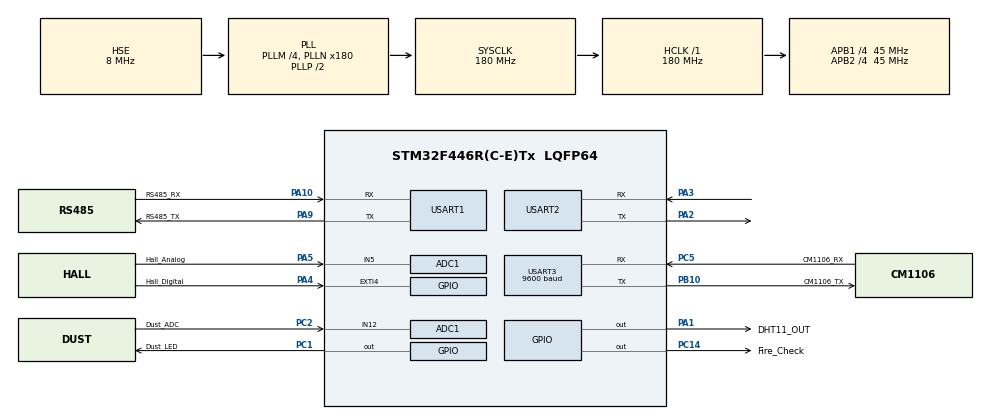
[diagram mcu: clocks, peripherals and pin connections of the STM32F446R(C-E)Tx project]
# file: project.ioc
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ADC1.Channel-0\#ChannelRegularConversion=ADC_CHANNEL_5
ADC1.Channel-2\#ChannelInjectedConversion=ADC_CHANNEL_12
ADC1.ContinuousConvMode=ENABLE
ADC1.DMAContinuousRequests=ENABLE
ADC1.DiscontinuousConvMode=DISABLE
ADC1.InjNumberOfConversion=1
ADC1.InjectedOffset-2\#ChannelInjectedConversion=0
ADC1.InjectedRank-2\#ChannelInjectedConversion=1
ADC1.NbrOfConversion=1
ADC1.NbrOfConversionFlag=1
ADC1.Rank-0\#ChannelRegularConversion=1
ADC1.SamplingTime-0\#ChannelRegularConversion=ADC_SAMPLETIME_480CYCLES
ADC1.SamplingTime-2\#ChannelInjectedConversion=ADC_SAMPLETIME_480CYCLES
ADC1.master=1
Dma.ADC1.2.Direction=DMA_PERIPH_TO_MEMORY
Dma.ADC1.2.FIFOMode=DMA_FIFOMODE_DISABLE
Dma.ADC1.2.Instance=DMA2_Stream0
Dma.ADC1.2.MemDataAlignment=DMA_MDATAALIGN_HALFWORD
Dma.ADC1.2.MemInc=DMA_MINC_ENABLE
Dma.ADC1.2.Mode=DMA_CIRCULAR
Dma.ADC1.2.PeriphDataAlignment=DMA_PDATAALIGN_HALFWORD
Dma.ADC1.2.PeriphInc=DMA_PINC_DISABLE
Dma.ADC1.2.Priority=DMA_PRIORITY_LOW
Dma.Request0=USART2_RX
Dma.Request1=USART3_RX
Dma.Request2=ADC1
Dma.Request3=USART1_RX
Dma.USART1_RX.3.Direction=DMA_PERIPH_TO_MEMORY
Dma.USART1_RX.3.FIFOMode=DMA_FIFOMODE_DISABLE
Dma.USART1_RX.3.Instance=DMA2_Stream2
Dma.USART1_RX.3.MemDataAlignment=DMA_MDATAALIGN_BYTE
Dma.USART1_RX.3.MemInc=DMA_MINC_ENABLE
Dma.USART1_RX.3.Mode=DMA_CIRCULAR
Dma.USART1_RX.3.PeriphDataAlignment=DMA_PDATAALIGN_BYTE
Dma.USART1_RX.3.PeriphInc=DMA_PINC_DISABLE
Dma.USART1_RX.3.Priority=DMA_PRIORITY_VERY_HIGH
Dma.USART2_RX.0.Direction=DMA_PERIPH_TO_MEMORY
Dma.USART2_RX.0.FIFOMode=DMA_FIFOMODE_DISABLE
Dma.USART2_RX.0.Instance=DMA1_Stream5
Dma.USART2_RX.0.MemDataAlignment=DMA_MDATAALIGN_BYTE
Dma.USART2_RX.0.MemInc=DMA_MINC_ENABLE
Dma.USART2_RX.0.Mode=DMA_CIRCULAR
Dma.USART2_RX.0.PeriphDataAlignment=DMA_PDATAALIGN_BYTE
Dma.USART2_RX.0.PeriphInc=DMA_PINC_DISABLE
Dma.USART2_RX.0.Priority=DMA_PRIORITY_VERY_HIGH
Dma.USART3_RX.1.Direction=DMA_PERIPH_TO_MEMORY
Dma.USART3_RX.1.FIFOMode=DMA_FIFOMODE_DISABLE
Dma.USART3_RX.1.Instance=DMA1_Stream1
Dma.USART3_RX.1.MemDataAlignment=DMA_MDATAALIGN_BYTE
Dma.USART3_RX.1.MemInc=DMA_MINC_ENABLE
Dma.USART3_RX.1.Mode=DMA_NORMAL
Dma.USART3_RX.1.PeriphDataAlignment=DMA_PDATAALIGN_BYTE
Dma.USART3_RX.1.PeriphInc=DMA_PINC_DISABLE
Dma.USART3_RX.1.Priority=DMA_PRIORITY_VERY_HIGH
FREERTOS.BinarySemaphores01=rs485Sem,Dynamic,NULL,Available
FREERTOS.Mutexes01=SensorMutex,Dynamic,NULL,Available
FREERTOS.Queues01=modbusQueue,4,uint16_t,0,Dynamic,NULL,NULL
FREERTOS.Tasks01=RS485Task,32,512,StartRS485Task,Default,NULL,Dynamic,NULL,NULL;DHT11Task,24,256,StartDht11Task,Default,NULL,Dynamic,NULL,NULL;FastSensorTask,24,256,StartFastSensorTask,Default,NULL,Dynamic,NULL,NULL;MagnetTask,32,128,StartMagnetTask,Default,NULL,Dynamic,NULL,NULL
Mcu.Family=STM32F4
Mcu.Name=STM32F446R(C-E)Tx
Mcu.Package=LQFP64
NVIC.DMA1_Stream1_IRQn=true\:5\:0\:false\:false\:true\:true\:false\:true\:true
NVIC.DMA1_Stream5_IRQn=true\:5\:0\:false\:true\:true\:1\:true\:false\:true\:true
NVIC.DMA2_Stream0_IRQn=true\:5\:0\:false\:true\:true\:4\:true\:false\:true\:true
NVIC.DMA2_Stream2_IRQn=true\:5\:0\:false\:true\:true\:5\:true\:false\:true\:true
NVIC.EXTI4_IRQn=true\:5\:0\:false\:true\:true\:2\:true\:true\:true\:true
NVIC.PriorityGroup=NVIC_PRIORITYGROUP_4
NVIC.TIM3_IRQn=true\:5\:0\:false\:false\:true\:true\:true\:true\:true
NVIC.TIM8_TRG_COM_TIM14_IRQn=true\:15\:0\:false\:false\:true\:false\:false\:true\:true
NVIC.TimeBase=TIM8_TRG_COM_TIM14_IRQn
NVIC.TimeBaseIP=TIM14
NVIC.USART1_IRQn=true\:5\:0\:false\:true\:true\:3\:true\:true\:true\:true
NVIC.USART3_IRQn=true\:5\:0\:false\:false\:true\:true\:true\:true\:true
PA1.GPIO_Label=DHT11_OUT
PA1.GPIO_Speed=GPIO_SPEED_FREQ_VERY_HIGH
PA1.PinState=GPIO_PIN_SET
PA1.Signal=GPIO_Output
PA10.GPIO_Label=RS485_RX
PA10.Mode=Asynchronous
PA10.Signal=USART1_RX
PA13.Mode=Serial_Wire
PA13.Signal=SYS_JTMS-SWDIO
PA14.Mode=Serial_Wire
PA14.Signal=SYS_JTCK-SWCLK
PA2.Mode=Asynchronous
PA2.Signal=USART2_TX
PA3.Mode=Asynchronous
PA3.Signal=USART2_RX
PA4.GPIO_Label=Hall_Digital
PA4.Signal=GPXTI4
PA5.GPIO_Label=Hall_Analog
PA5.Signal=SharedAnalog_PA5
PA9.GPIO_Label=RS485_TX
PA9.Mode=Asynchronous
PA9.Signal=USART1_TX
PB10.GPIO_Label=CM1106_TX
PB10.Mode=Asynchronous
PB10.Signal=USART3_TX
PC1.GPIO_Label=Dust_LED
PC1.GPIO_Speed=GPIO_SPEED_FREQ_VERY_HIGH
PC1.Signal=GPIO_Output
PC14-OSC32_IN.GPIO_Label=Fire_Check
PC14-OSC32_IN.Signal=GPIO_Output
PC2.GPIO_Label=Dust_ADC
PC2.Signal=ADCx_IN12
PC5.GPIO_Label=CM1106_RX
PC5.Mode=Asynchronous
PC5.Signal=USART3_RX
PH0-OSC_IN.Mode=HSE-External-Oscillator
PH0-OSC_IN.Signal=RCC_OSC_IN
PH1-OSC_OUT.Mode=HSE-External-Oscillator
PH1-OSC_OUT.Signal=RCC_OSC_OUT
ProjectManager.HeapSize=0x200
ProjectManager.StackSize=0x800
ProjectManager.TargetToolchain=STM32CubeIDE
RCC.AHBFreq_Value=180000000
RCC.APB1CLKDivider=RCC_HCLK_DIV4
RCC.APB1Freq_Value=45000000
RCC.APB1TimFreq_Value=90000000
RCC.APB2CLKDivider=RCC_HCLK_DIV4
RCC.APB2Freq_Value=45000000
RCC.APB2TimFreq_Value=90000000
RCC.CortexFreq_Value=180000000
RCC.HCLKFreq_Value=180000000
RCC.HSE_VALUE=8000000
RCC.PLLM=4
RCC.PLLN=180
RCC.PLLSourceVirtual=RCC_PLLSOURCE_HSE
RCC.SYSCLKFreq_VALUE=180000000
RCC.SYSCLKSource=RCC_SYSCLKSOURCE_PLLCLK
RCC.USBFreq_Value=180000000
RCC.VCOOutputFreq_Value=360000000
SH.ADCx_IN12.0=ADC1_IN12,IN12
SH.SharedAnalog_PA5.0=GPIO_Analog
SH.SharedAnalog_PA5.1=ADC1_IN5,IN5
TIM2.Period=1000-1
TIM2.Prescaler=9000-1
TIM2.TIM_MasterOutputTrigger=TIM_TRGO_UPDATE
TIM3.Period=100-1
TIM3.Prescaler=9000-1
TIM3.TIM_MasterOutputTrigger=TIM_TRGO_UPDATE
TIM6.Period=65535
TIM6.Prescaler=90-1
TIM7.Prescaler=90-1
USART1.VirtualMode=VM_ASYNC
USART2.VirtualMode=VM_ASYNC
USART3.BaudRate=9600
USART3.VirtualMode=VM_ASYNC
VP_FREERTOS_VS_CMSIS_V2.Mode=CMSIS_V2
VP_SYS_VS_tim14.Mode=TIM14
VP_TIM2_VS_ClockSourceINT.Mode=Internal
VP_TIM3_VS_ClockSourceINT.Mode=Internal
VP_TIM6_VS_ClockSourceINT.Mode=Enable_Timer
VP_TIM7_VS_ClockSourceINT.Mode=Enable_Timer
board=custom

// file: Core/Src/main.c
/* USER CODE BEGIN Header */
/**
  ******************************************************************************
  * @file           : main.c
  * @brief          : Main program body
  ******************************************************************************
  * @attention
  *
  * Copyright (c) 2026 STMicroelectronics.
  * All rights reserved.
  *
  * This software is licensed under terms that can be found in the LICENSE file
  * in the root directory of this software component.
  * If no LICENSE file comes with this software, it is provided AS-IS.
  *
  ******************************************************************************
  */
/* USER CODE END Header */
#include "main.h"
#include "cmsis_os.h"
#include "adc.h"
#include "dma.h"
#include "tim.h"
#include "usart.h"
#include "gpio.h"

/* USER CODE BEGIN Includes */
#include "queue.h"
#include <stdio.h>
#include "modbus_protocol.h"
//#include <My_MCU_Printf_Lib_V2_8.h>
/* USER CODE END Includes */

/* USER CODE BEGIN PV */

extern osThreadId_t FastSensorTaskHandle;
extern osThreadId_t MagnetTaskHandle;
extern osSemaphoreId_t rs485SemHandle;
extern osMessageQueueId_t modbusQueueHandle;

uint8_t uart_buf[DMA_Rx_Lens];
uint16_t dma_old_pos = 0;

sensorData s_data = {
		.zone = 1
};

/*
uint8_t cm1106_rx_buf[8];
uint8_t cm1106_cmd[4] = {0x11, 0x01, 0x01, 0xED};
uint16_t co2_ppm = 0;

uint16_t dust_adc = 0;
float dust_voltage = 0;
float dust_value = 0;
static const float dust_clean = 0.28;

uint16_t hall_adc;	// Hall sensor

uint16_t tempdht11, humidht11;
*/
/* USER CODE END PV */

void SystemClock_Config(void);
void MX_FREERTOS_Init(void);
static void MX_NVIC_Init(void);

/* USER CODE BEGIN 0 */

/*
void dht11(uint16_t *temperature, uint16_t *humid)
{
    uint16_t tempc, humidc;

    GPIO_InitTypeDef GPIO_InitStruct = {0};
    GPIO_InitStruct.Pin = DHT11_OUT_Pin;
    GPIO_InitStruct.Mode = GPIO_MODE_OUTPUT_PP;
    GPIO_InitStruct.Pull = GPIO_NOPULL;
    GPIO_InitStruct.Speed = GPIO_SPEED_FREQ_VERY_HIGH;
    HAL_GPIO_Init(DHT11_OUT_GPIO_Port, &GPIO_InitStruct);

    HAL_GPIO_WritePin(DHT11_OUT_GPIO_Port, DHT11_OUT_Pin, 0);

    HAL_Delay(20);

    HAL_GPIO_WritePin(DHT11_OUT_GPIO_Port, DHT11_OUT_Pin, 1);

    GPIO_InitStruct.Pin = DHT11_OUT_Pin;
    GPIO_InitStruct.Mode = GPIO_MODE_INPUT;
    GPIO_InitStruct.Pull = GPIO_NOPULL;
    GPIO_InitStruct.Speed = GPIO_SPEED_FREQ_VERY_HIGH;
    HAL_GPIO_Init(DHT11_OUT_GPIO_Port, &GPIO_InitStruct);

    // try to get counter's start
    __HAL_TIM_SET_COUNTER(&htim7, 0);

    // pick the time of start GPIO_PIN_SET / RESET for each ler[0], ler[1]
    uint16_t ler[2];
    // save the time between start and end of signal
    uint16_t duration[42];
    uint8_t bits[40];
    uint16_t temph = 0;
    uint16_t humidh = 0;

    for(int i = 0; i < 42; i++) {
        while(HAL_GPIO_ReadPin(DHT11_OUT_GPIO_Port, DHT11_OUT_Pin) == 0);
        ler[0] = __HAL_TIM_GET_COUNTER(&htim7);
        while(HAL_GPIO_ReadPin(DHT11_OUT_GPIO_Port, DHT11_OUT_Pin) == 1);
        ler[1] = __HAL_TIM_GET_COUNTER(&htim7);
        duration[i] = ler[1] - ler[0];
    }

    for(int i = 0; i < 40; i++) {
        if((duration[i+2] >= 20) && (duration[i+2] <= 32)) {
            bits[i] = 0;
        }
        else if ((duration[i+2] >= 65) && (duration[i+2] <= 75)) {
            bits[i] = 1;
        }
    }

    for(int i = 0; i < 8; i++) {
        temph += bits[i+16] << (7-i);
        humidh += bits[i] << (7-i);
    }

    tempc = temph;
    humidc = humidh;

    *temperature = tempc;
    *humid = humidc;
}
*/

/* USER CODE END 0 */

int main(void)
{

  /* MCU Configuration--------------------------------------------------------*/

  /* Reset of all peripherals, Initializes the Flash interface and the Systick. */
  HAL_Init();

  /* Configure the system clock */
  SystemClock_Config();

  /* Initialize all configured peripherals */
  MX_GPIO_Init();
  MX_DMA_Init();
  MX_USART2_UART_Init();
  MX_TIM3_Init();
  MX_TIM2_Init();
  MX_USART3_UART_Init();
  MX_ADC1_Init();
  MX_TIM6_Init();
  MX_TIM7_Init();
  MX_USART1_UART_Init();

  /* Initialize interrupts */
  MX_NVIC_Init();
  /* USER CODE BEGIN 2 */
  HAL_TIM_Base_Start(&htim6);
  HAL_TIM_Base_Start(&htim7);

  //HAL_UART_Receive_DMA(&huart3, cm1106_rx_buf, sizeof(cm1106_rx_buf));
  //HAL_ADC_Start_DMA(&hadc1, &hall_adc, 1);

  /* USER CODE END 2 */

  /* Init scheduler */
  osKernelInitialize();  /* Call init function for freertos objects (in cmsis_os2.c) */
  MX_FREERTOS_Init();

  /* Start scheduler */
  osKernelStart();

  /* We should never get here as control is now taken by the scheduler */

  /* Infinite loop */
  /* USER CODE BEGIN WHILE */
  while (1)
  {
	  /*	// CO2 sensor
	  HAL_UART_Transmit(&huart3, cm1106_cmd, sizeof(cm1106_cmd), 100);
	  HAL_Delay(200);

	  co2_ppm = cm1106_rx_buf[3] * 256 + cm1106_rx_buf[4];
	  printf("CO2 ppm = %d\r\n", co2_ppm);

	  HAL_Delay(800);
	  */

	  /*	// 미세먼지 sensor
	  HAL_GPIO_WritePin(Dust_LED_GPIO_Port, Dust_LED_Pin, 0);

	  __HAL_TIM_SET_COUNTER(&htim6, 0);
	  while(__HAL_TIM_GET_COUNTER(&htim6) < 280);

	  HAL_ADCEx_InjectedStart(&hadc1);
	  //HAL_ADC_Start_DMA(&hadc1, &dust_adc, 1);

	  if(HAL_ADCEx_InjectedPollForConversion(&hadc1, 10) == HAL_OK)
	  {
		  dust_adc = HAL_ADCEx_InjectedGetValue(&hadc1, ADC_INJECTED_RANK_1);
	  }

	  __HAL_TIM_SET_COUNTER(&htim6, 0);
	  while(__HAL_TIM_GET_COUNTER(&htim6) < 40);

	  HAL_GPIO_WritePin(Dust_LED_GPIO_Port, Dust_LED_Pin, 1);

	  printf("Dust_adc : %u\r\n", dust_adc);

	  dust_voltage = dust_adc * 5.0 / 4095.0;
	  printf("Dust_voltage : %f\r\n", dust_voltage);

	  dust_value = (dust_voltage - dust_clean) / 0.005;
	  printf("Dust_value : %f\r\n", dust_value);

	  HAL_Delay(1000);
	  */

	  /*	// A3144E sensor
	  printf("Hall: %u\r\n", hall_adc);
	  HAL_Delay(500);
	  */

	  /*	// DHT-11 sensor
      dht11(&tempdht11, &humidht11);
      printf("temp : %d, hum : %d\r\n", tempdht11, humidht11);
      HAL_Delay(2000);  // 2초마다 읽기
	  */

    /* USER CODE END WHILE */

  }
}

void SystemClock_Config(void)
{
  RCC_OscInitTypeDef RCC_OscInitStruct = {0};
  RCC_ClkInitTypeDef RCC_ClkInitStruct = {0};

  /** Configure the main internal regulator output voltage
  */
  __HAL_RCC_PWR_CLK_ENABLE();
  __HAL_PWR_VOLTAGESCALING_CONFIG(PWR_REGULATOR_VOLTAGE_SCALE1);

  /** Initializes the RCC Oscillators according to the specified parameters
  * in the RCC_OscInitTypeDef structure.
  */
  RCC_OscInitStruct.OscillatorType = RCC_OSCILLATORTYPE_HSE;
  RCC_OscInitStruct.HSEState = RCC_HSE_ON;
  RCC_OscInitStruct.PLL.PLLState = RCC_PLL_ON;
  RCC_OscInitStruct.PLL.PLLSource = RCC_PLLSOURCE_HSE;
  RCC_OscInitStruct.PLL.PLLM = 4;
  RCC_OscInitStruct.PLL.PLLN = 180;
  RCC_OscInitStruct.PLL.PLLP = RCC_PLLP_DIV2;
  RCC_OscInitStruct.PLL.PLLQ = 2;
  RCC_OscInitStruct.PLL.PLLR = 2;
  if (HAL_RCC_OscConfig(&RCC_OscInitStruct) != HAL_OK)
  {
    Error_Handler();
  }

  /** Activate the Over-Drive mode
  */
  if (HAL_PWREx_EnableOverDrive() != HAL_OK)
  {
    Error_Handler();
  }

  /** Initializes the CPU, AHB and APB buses clocks
  */
  RCC_ClkInitStruct.ClockType = RCC_CLOCKTYPE_HCLK|RCC_CLOCKTYPE_SYSCLK
                              |RCC_CLOCKTYPE_PCLK1|RCC_CLOCKTYPE_PCLK2;
  RCC_ClkInitStruct.SYSCLKSource = RCC_SYSCLKSOURCE_PLLCLK;
  RCC_ClkInitStruct.AHBCLKDivider = RCC_SYSCLK_DIV1;
  RCC_ClkInitStruct.APB1CLKDivider = RCC_HCLK_DIV4;
  RCC_ClkInitStruct.APB2CLKDivider = RCC_HCLK_DIV4;

  if (HAL_RCC_ClockConfig(&RCC_ClkInitStruct, FLASH_LATENCY_5) != HAL_OK)
  {
    Error_Handler();
  }
}

/**
  * @brief NVIC Configuration.
  * @retval None
  */
static void MX_NVIC_Init(void)
{
  /* DMA1_Stream5_IRQn interrupt configuration */
  HAL_NVIC_SetPriority(DMA1_Stream5_IRQn, 5, 0);
  HAL_NVIC_EnableIRQ(DMA1_Stream5_IRQn);
  /* EXTI4_IRQn interrupt configuration */
  HAL_NVIC_SetPriority(EXTI4_IRQn, 5, 0);
  HAL_NVIC_EnableIRQ(EXTI4_IRQn);
  /* USART1_IRQn interrupt configuration */
  HAL_NVIC_SetPriority(USART1_IRQn, 5, 0);
  HAL_NVIC_EnableIRQ(USART1_IRQn);
  /* DMA2_Stream0_IRQn interrupt configuration */
  HAL_NVIC_SetPriority(DMA2_Stream0_IRQn, 5, 0);
  HAL_NVIC_EnableIRQ(DMA2_Stream0_IRQn);
  /* DMA2_Stream2_IRQn interrupt configuration */
  HAL_NVIC_SetPriority(DMA2_Stream2_IRQn, 5, 0);
  HAL_NVIC_EnableIRQ(DMA2_Stream2_IRQn);
}

/* USER CODE BEGIN 4 */
void HAL_UART_RxCpltCallback(UART_HandleTypeDef *huart)
{
//	if (huart->Instance == USART1)
//	{
//		osSemaphoreRelease(rs485SemHandle);
//		HAL_UART_Transmit(&huart2, "Call BACK\r\n", 11, 100);
//	}

    if (huart->Instance == USART3)
    {
        osThreadFlagsSet(FastSensorTaskHandle, 0x02);
    }
}

void HAL_UARTEx_RxEventCallback(UART_HandleTypeDef *huart, uint16_t Size)
{
	// DMA가 반전송 또는 완료 후 자동으로 재시작되지 않게 설정
	      uint32_t event = HAL_UARTEx_GetRxEventType(huart);
	      uint16_t dma_pos = Size;
	      uint16_t old_pos = dma_old_pos;
	      uint16_t length = 0;

	      static uint8_t Rx_Buff[DMA_Rx_Lens] = {0};	// rx_d->Rx_Buff
	      static uint8_t Rx_Buff_Index = 0;	// rx_cnt->rx_cnt_2
	      // uint8_t Rx_data[20] = {0};	// rx_d->Rx_data_2

	      // 1. 순환 버퍼(Circular) 구조에서 정확한 데이터 길이 계산
	      if(dma_pos >= old_pos) length = dma_pos - old_pos;
	      else length = DMA_Rx_Lens - old_pos + dma_pos;

	      // 2. 새로 들어온 길이만큼 복사 (인덱스 유지하면서 Rx_Buff에 누적)
	       for(uint16_t i = 0; i < length; i++)
	        {
	    	  Rx_Buff[Rx_Buff_Index] = uart_buf[(old_pos + i) % DMA_Rx_Lens];
	    	  Rx_Buff_Index++;

	          if(Rx_Buff_Index >= DMA_Rx_Lens)
	           {
	        	 Rx_Buff_Index = 0; // 버퍼 오버플로우 방지 (처음으로 롤백)
	           }
	        }

	       // 현재 위치를 다음 번 처리를 위해 저장
	       dma_old_pos = dma_pos;

	       #if debugging
	         printf("SIZE=%u OLD=%u LEN=%u EVENT=%lu\r\n", Size, old_pos, length, event);
	       #endif

	       // 3. 오직 IDLE(EVENT=2) 이벤트가 발생했을 때만 data 복사.
	       if(event == HAL_UART_RXEVENT_IDLE)
	        {
	    	  if(Rx_Buff_Index == 0) return;

	    	  ModbusRxMsgTypeDef msg = {0};

	          msg.len = Rx_Buff_Index;

	          for(uint8_t i = 0; i < msg.len; i++)
	          {
	            msg.data[i] = Rx_Buff[i];
	          }

	          // Buff Index 초기화
	          Rx_Buff_Index = 0;

	          BaseType_t xHigherPriorityTaskWoken = pdFALSE;
	          xQueueSendFromISR((QueueHandle_t)modbusQueueHandle, &msg, &xHigherPriorityTaskWoken);
	          portYIELD_FROM_ISR(xHigherPriorityTaskWoken);
	        }
}

// 자기 sensor
void HAL_GPIO_EXTI_Callback(uint16_t GPIO_Pin)
{
	if (GPIO_Pin == Hall_Digital_Pin)
	{
		osThreadFlagsSet(MagnetTaskHandle, 0x01);
	}
}

/* USER CODE END 4 */

void HAL_TIM_PeriodElapsedCallback(TIM_HandleTypeDef *htim)
{
  if (htim->Instance == TIM14)
  {
    HAL_IncTick();
  }
}

void Error_Handler(void)
{
  __disable_irq();
  while (1)
  {
  }
}

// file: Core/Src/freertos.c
/* USER CODE BEGIN Header */
/**
  ******************************************************************************
  * File Name          : freertos.c
  * Description        : Code for freertos applications
  ******************************************************************************
  * @attention
  *
  * Copyright (c) 2026 STMicroelectronics.
  * All rights reserved.
  *
  * This software is licensed under terms that can be found in the LICENSE file
  * in the root directory of this software component.
  * If no LICENSE file comes with this software, it is provided AS-IS.
  *
  ******************************************************************************
  */
/* USER CODE END Header */

#include "FreeRTOS.h"
#include "task.h"
#include "main.h"
#include "cmsis_os.h"

/* USER CODE BEGIN Includes */
#include "tim.h"
#include "usart.h"
#include "adc.h"
#include "queue.h"

#include <stdio.h>
#include <My_MCU_Printf_Lib_V2_8.h>
#include "modbus_protocol.h"
/* USER CODE END Includes */

/* USER CODE BEGIN PD */

extern uint8_t uart_buf[DMA_Rx_Lens];

/* USER CODE END PD */

/* USER CODE BEGIN Variables */
extern sensorData s_data;
/* USER CODE END Variables */
/* Definitions for RS485Task */
osThreadId_t RS485TaskHandle;
const osThreadAttr_t RS485Task_attributes = {
  .name = "RS485Task",
  .stack_size = 512 * 4,
  .priority = (osPriority_t) osPriorityAboveNormal,
};
/* Definitions for DHT11Task */
osThreadId_t DHT11TaskHandle;
const osThreadAttr_t DHT11Task_attributes = {
  .name = "DHT11Task",
  .stack_size = 256 * 4,
  .priority = (osPriority_t) osPriorityNormal,
};
/* Definitions for FastSensorTask */
osThreadId_t FastSensorTaskHandle;
const osThreadAttr_t FastSensorTask_attributes = {
  .name = "FastSensorTask",
  .stack_size = 256 * 4,
  .priority = (osPriority_t) osPriorityNormal,
};
/* Definitions for MagnetTask */
osThreadId_t MagnetTaskHandle;
const osThreadAttr_t MagnetTask_attributes = {
  .name = "MagnetTask",
  .stack_size = 128 * 4,
  .priority = (osPriority_t) osPriorityAboveNormal,
};
/* Definitions for modbusQueue */
osMessageQueueId_t modbusQueueHandle;
const osMessageQueueAttr_t modbusQueue_attributes = {
  .name = "modbusQueue"
};
/* Definitions for SensorMutex */
osMutexId_t SensorMutexHandle;
const osMutexAttr_t SensorMutex_attributes = {
  .name = "SensorMutex"
};
/* Definitions for rs485Sem */
osSemaphoreId_t rs485SemHandle;
const osSemaphoreAttr_t rs485Sem_attributes = {
  .name = "rs485Sem"
};

void StartRS485Task(void *argument);
void StartDht11Task(void *argument);
void StartFastSensorTask(void *argument);
void StartMagnetTask(void *argument);

void MX_FREERTOS_Init(void); /* (MISRA C 2004 rule 8.1) */

void MX_FREERTOS_Init(void) {
  /* Create the mutex(es) */
  /* creation of SensorMutex */
  SensorMutexHandle = osMutexNew(&SensorMutex_attributes);

  /* Create the semaphores(s) */
  /* creation of rs485Sem */
  rs485SemHandle = osSemaphoreNew(1, 1, &rs485Sem_attributes);

  /* Create the queue(s) */
  /* creation of modbusQueue */
  modbusQueueHandle = osMessageQueueNew (4, sizeof(uint16_t), &modbusQueue_attributes);

  /* Create the thread(s) */
  /* creation of RS485Task */
  RS485TaskHandle = osThreadNew(StartRS485Task, NULL, &RS485Task_attributes);

  /* creation of DHT11Task */
  DHT11TaskHandle = osThreadNew(StartDht11Task, NULL, &DHT11Task_attributes);

  /* creation of FastSensorTask */
  FastSensorTaskHandle = osThreadNew(StartFastSensorTask, NULL, &FastSensorTask_attributes);

  /* creation of MagnetTask */
  MagnetTaskHandle = osThreadNew(StartMagnetTask, NULL, &MagnetTask_attributes);

}

void StartRS485Task(void *argument)
{
  /* USER CODE BEGIN StartRS485Task */

  ModbusRxMsgTypeDef rx_msg;
  Modbus_ParserTypedef modbus_parser;
  ModbusResponse_FrameTypeDef modbus_packer;
  ModbusRTU_FrameTypeDef rtu_frame;

  HAL_UARTEx_ReceiveToIdle_DMA(&huart1, uart_buf, sizeof(uart_buf));

  /* Infinite loop */
  for(;;)
  {
	if(xQueueReceive((QueueHandle_t)modbusQueueHandle, &rx_msg, portMAX_DELAY))
	{
		memset(&modbus_parser, 0, sizeof(modbus_parser));
		memset(&modbus_packer, 0, sizeof(modbus_packer));
		memset(&rtu_frame, 0, sizeof(rtu_frame));

		if (modbus_parsing(rx_msg.data, &modbus_parser, &rtu_frame))
		{
			HAL_UART_Transmit(&huart2, "Parsing\r\n", 9, 100);
			uint8_t index = 0;
			uint8_t rs485_tx_len = 5;

			switch(modbus_parser.cmd)
			{
				case Read_Holding_Registers:

					if(modbus_parser.flags & (1 << REG_Temp_Addr))
					{
						modbus_packer.data[index++] = s_data.temp;
						modbus_parser.flags &= ~(1 << REG_Temp_Addr);
						rs485_tx_len += 2;
					}

					if(modbus_parser.flags & (1 << REG_Humid_Addr))
					{
						modbus_packer.data[index++] = s_data.humid;
						modbus_parser.flags &= ~(1 << REG_Humid_Addr);
						rs485_tx_len += 2;
					}

					if(modbus_parser.flags & (1 << REG_Co2_Addr))
					{
						modbus_packer.data[index++] = s_data.co2;
						modbus_parser.flags &= ~(1 << REG_Co2_Addr);
						rs485_tx_len += 2;
					}

					if(modbus_parser.flags & (1 << REG_Dust_Addr))
					{
						modbus_packer.data[index++] = s_data.dust_density;
						modbus_parser.flags &= ~(1 << REG_Dust_Addr);
						rs485_tx_len += 2;
					}

					if(modbus_parser.flags & (1 << REG_Zone_Addr))
					{
						modbus_packer.data[index++] = s_data.zone;
						modbus_parser.flags &= ~(1 << REG_Zone_Addr);
						rs485_tx_len += 2;
					}

					uint8_t rs485_tx_buf[rs485_tx_len];
					modbus_packing(rs485_tx_buf, &modbus_packer, &rtu_frame);

					HAL_UART_Transmit(&huart1, (uint8_t*)rs485_tx_buf, rs485_tx_len, 100);
			}
		}
		else ;
	}
	// HAL_UARTEx_ReceiveToIdle_DMA(&huart1, uart_buf, sizeof(uart_buf));
  }
  /* USER CODE END StartRS485Task */
}

void StartDht11Task(void *argument)
{
  /* USER CODE BEGIN StartDht11Task */
  /* Infinite loop */
	for(;;)
	{
	    uint16_t duration[42] = {0};
	    uint8_t bits[40] = {0};
	    uint16_t temph = 0, humidh = 0;
	    uint16_t templ = 0, humidl = 0;

	    // Output 모드 전환
	    GPIO_InitTypeDef GPIO_InitStruct = {0};
	    GPIO_InitStruct.Pin = DHT11_OUT_Pin;
	    GPIO_InitStruct.Mode = GPIO_MODE_OUTPUT_PP;
	    GPIO_InitStruct.Pull = GPIO_NOPULL;
	    GPIO_InitStruct.Speed = GPIO_SPEED_FREQ_VERY_HIGH;
	    HAL_GPIO_Init(DHT11_OUT_GPIO_Port, &GPIO_InitStruct);

	    // DHT11 Start Signal (LOW 20ms -> HIGH)
	    HAL_GPIO_WritePin(DHT11_OUT_GPIO_Port, DHT11_OUT_Pin, GPIO_PIN_RESET);
	    osDelay(20);
	    HAL_GPIO_WritePin(DHT11_OUT_GPIO_Port, DHT11_OUT_Pin, GPIO_PIN_SET);

	    // Input 모드 전환
	    GPIO_InitStruct.Mode = GPIO_MODE_INPUT;
	    HAL_GPIO_Init(DHT11_OUT_GPIO_Port, &GPIO_InitStruct);

	    HAL_TIM_Base_Start(&htim7);

	    // 타이밍 정밀 측정 구간 (스케줄러/인터럽트 잠금)
	    taskENTER_CRITICAL();

	    for(int i = 0; i < 42; i++)
	    {
	        // LOW 구간 측정
	        __HAL_TIM_SET_COUNTER(&htim7, 0);
	        while(HAL_GPIO_ReadPin(DHT11_OUT_GPIO_Port, DHT11_OUT_Pin) == GPIO_PIN_RESET)
	        {
	            if(__HAL_TIM_GET_COUNTER(&htim7) > 100) break;
	        }

	        // HIGH 구간 측정
	        __HAL_TIM_SET_COUNTER(&htim7, 0);
	        while(HAL_GPIO_ReadPin(DHT11_OUT_GPIO_Port, DHT11_OUT_Pin) == GPIO_PIN_SET)
	        {
	            if(__HAL_TIM_GET_COUNTER(&htim7) > 100) break;
	        }
	        duration[i] = __HAL_TIM_GET_COUNTER(&htim7); // HIGH 신호 유지 시간(us)
	    }

	    taskEXIT_CRITICAL();

	    // 비트 판별 (HIGH 신호 길이 기준: ~26us=0, ~70us=1)
	    for(int i = 0; i < 40; i++)
	    {
	        if((duration[i+2] >= 15) && (duration[i+2] <= 35)) {
	            bits[i] = 0;
	        }
	        else if ((duration[i+2] >= 55) && (duration[i+2] <= 85)) {
	            bits[i] = 1;
	        }
	    }

	    // 데이터 비트 복원
	    for(int i = 0; i < 8; i++) {
	        humidh |= (bits[i] << (7-i));
	        humidl |= (bits[i+8]    << (7-i));
	        temph  |= (bits[i+16] << (7-i));
	        templ  |= (bits[i+24]   << (7-i));
	    }

	    // Mutex를 통한 안전한 전역 구조체 업데이트
	    if(osMutexAcquire(SensorMutexHandle, osWaitForever) == osOK)
	    {
	        s_data.temp = (float)temph  + ((float)templ  * 0.1f);;
	        s_data.humid = (float)humidh + ((float)humidl * 0.1f);;
	        osMutexRelease(SensorMutexHandle);
	    }

	    char tx_buf[64];
	    sprintf(tx_buf, "[zone %d] temp : %.1f,   humid : %.1f,   co2 : %u ppm,  dust : %.1f\r\n", s_data.zone, s_data.temp, s_data.humid, s_data.co2, s_data.dust_density);
	    HAL_UART_Transmit(&huart2, (uint8_t*)tx_buf, strlen(tx_buf), 100);

	    osDelay(2000);
	}
  /* USER CODE END StartDht11Task */
}

void StartFastSensorTask(void *argument)
{
  /* USER CODE BEGIN StartFastSensorTask */

	uint8_t cm1106_rx_buf[8];
	uint8_t cm1106_cmd[4] = {0x11, 0x01, 0x01, 0xED};
	uint16_t co2_ppm = 0;

	uint16_t dust_adc = 0;
	float dust_voltage = 0;
	float dust_value = 0;
	static const float dust_clean = 0.28;
  /* Infinite loop */
  for(;;)
  {
	memset(cm1106_rx_buf, 0, sizeof(cm1106_rx_buf));
	HAL_UART_Receive_DMA(&huart3, cm1106_rx_buf, sizeof(cm1106_rx_buf));
	HAL_UART_Transmit(&huart3, cm1106_cmd, sizeof(cm1106_cmd), 100);

	uint32_t flags = osThreadFlagsWait(0x02, osFlagsWaitAny, 300);

	if ((flags & 0x02) != 0)
	{
		co2_ppm = cm1106_rx_buf[3] * 256 + cm1106_rx_buf[4];
	}

	if(osMutexAcquire(SensorMutexHandle, osWaitForever) == osOK)
	{
		s_data.co2 = co2_ppm;
		osMutexRelease(SensorMutexHandle);
	}

	if(s_data.co2 > 1500) HAL_GPIO_WritePin(Fire_Check_GPIO_Port, Fire_Check_Pin, 1);
	else HAL_GPIO_WritePin(Fire_Check_GPIO_Port, Fire_Check_Pin, 0);

//	char co2_buf[64];
//	sprintf(co2_buf, "co2 : %u ppm\r\n",s_data.co2);
//	HAL_UART_Transmit(&huart2, (uint8_t*)co2_buf, strlen(co2_buf), 100);

    osDelay(200);

    // 미세먼지 sensor
	HAL_GPIO_WritePin(Dust_LED_GPIO_Port, Dust_LED_Pin, 0);

	__HAL_TIM_SET_COUNTER(&htim6, 0);
	while(__HAL_TIM_GET_COUNTER(&htim6) < 280);

	HAL_ADCEx_InjectedStart(&hadc1);

	if(HAL_ADCEx_InjectedPollForConversion(&hadc1, 10) == HAL_OK)
	{
		dust_adc = HAL_ADCEx_InjectedGetValue(&hadc1, ADC_INJECTED_RANK_1);
	}

	__HAL_TIM_SET_COUNTER(&htim6, 0);
	while(__HAL_TIM_GET_COUNTER(&htim6) < 40);

	HAL_GPIO_WritePin(Dust_LED_GPIO_Port, Dust_LED_Pin, 1);

	dust_voltage = dust_adc * 5.0 / 4095.0;
	dust_value = (dust_voltage - dust_clean) / 0.005;
	s_data.dust_density = dust_value;

//	char dust_buf[64];
//	sprintf(dust_buf, "dust : %f \r\n", s_data.dust_density);
//	HAL_UART_Transmit(&huart2, (uint8_t*)dust_buf, strlen(dust_buf), 100);

    osDelay(200);

  }
  /* USER CODE END StartFastSensorTask */
}

void StartMagnetTask(void *argument)
{
  /* USER CODE BEGIN StartMagnetTask */

  uint8_t current_zone = 1;
  /* Infinite loop */
  for(;;)
  {
	osThreadFlagsWait(0x01, osFlagsWaitAny, osWaitForever);

	current_zone = (current_zone % 3) + 1;

	if(osMutexAcquire(SensorMutexHandle, osWaitForever) == osOK)
	{
		s_data.zone = current_zone;
		osMutexRelease(SensorMutexHandle);
	}

    osDelay(1000);

    osThreadFlagsClear(0x01);
  }
  /* USER CODE END StartMagnetTask */
}
